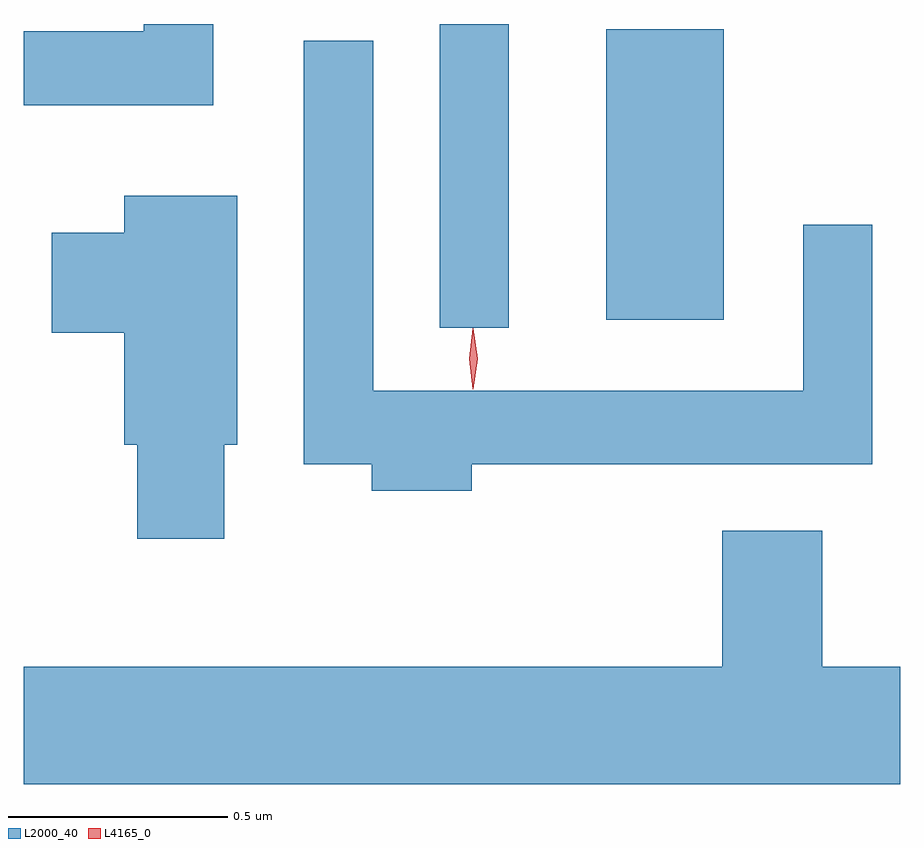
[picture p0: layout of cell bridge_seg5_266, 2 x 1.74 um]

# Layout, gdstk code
import gdstk
lib = gdstk.Library(unit=1e-6, precision=1e-09)
def R(c, l, rs):  # rectangles x0, y0, x1, y1
    for r in rs: c.add(gdstk.rectangle(r[:2], r[2:], *l))
def P(c, l, *ps):  # polygons
    for p in ps: c.add(gdstk.Polygon(p, *l))
L2000_40 = (2000, 40)
L4165_0 = (4165, 0)

bridge_seg5_266 = lib.new_cell('bridge_seg5_266')
R(bridge_seg5_266, L2000_40, [(1249.766,1415.658,1249.924,1416.351), (1250.146,1415.676,1250.414,1416.339)])
P(bridge_seg5_266, L2000_40, [(1249.249,1416.351),(1249.091,1416.351),(1249.091,1416.334),(1248.817,1416.334),(1248.817,1416.166),(1249.249,1416.166)],
  [(1249.839,1415.346),(1250.754,1415.346),(1250.754,1415.893),(1250.596,1415.893),(1250.596,1415.514),(1249.614,1415.514),(1249.614,1416.313),(1249.456,1416.313),(1249.456,1415.346),(1249.611,1415.346),(1249.611,1415.286),(1249.839,1415.286)],
  [(1249.274,1415.391),(1249.304,1415.391),(1249.304,1415.959),(1249.046,1415.959),(1249.046,1415.874),(1248.881,1415.874),(1248.881,1415.646),(1249.046,1415.646),(1249.046,1415.391),(1249.076,1415.391),(1249.076,1415.176),(1249.274,1415.176)],
  [(1250.817,1414.884),(1250.639,1414.884),(1250.639,1415.194),(1250.411,1415.194),(1250.411,1414.884),(1248.817,1414.884),(1248.817,1414.616),(1250.817,1414.616)])
P(bridge_seg5_266, L4165_0, [(1249.842,1415.517),(1249.833,1415.587),(1249.842,1415.656),(1249.843,1415.656),(1249.843,1415.656),(1249.853,1415.587),(1249.843,1415.517),(1249.843,1415.517)])

lib.write_gds('bridge_seg5_266.gds')
